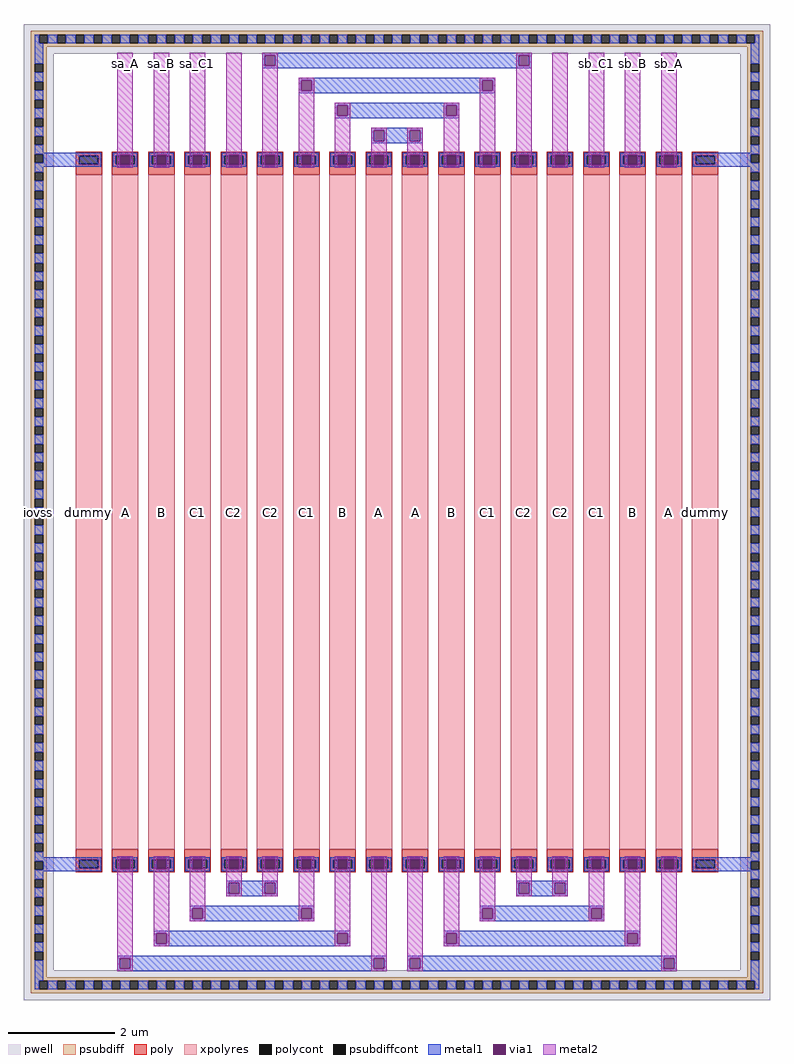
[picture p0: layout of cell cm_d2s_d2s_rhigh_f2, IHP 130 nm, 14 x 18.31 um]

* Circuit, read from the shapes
.subckt cm_d2s_d2s_rhigh_f2 sa_A sb_A sa_B sb_B sa_C1 sb_C1 sa_C2 sb_C2 iovss
XR1 iovss iovss xpolyres w=0.5u l=12.65u m=2
XR2 sa_A n1 xpolyres w=0.5u l=12.65u
XR3 sa_B n2 xpolyres w=0.5u l=12.65u
XR4 sa_C1 n3 xpolyres w=0.5u l=12.65u
XR5 sa_C2 n4 xpolyres w=0.5u l=12.65u
XR6 n5 n4 xpolyres w=0.5u l=12.65u
XR7 n6 n3 xpolyres w=0.5u l=12.65u
XR8 n7 n2 xpolyres w=0.5u l=12.65u
XR9 n8 n1 xpolyres w=0.5u l=12.65u
XR10 n8 n9 xpolyres w=0.5u l=12.65u
XR11 n7 n10 xpolyres w=0.5u l=12.65u
XR12 n6 n11 xpolyres w=0.5u l=12.65u
XR13 n5 n12 xpolyres w=0.5u l=12.65u
XR14 sb_C2 n12 xpolyres w=0.5u l=12.65u
XR15 sb_C1 n11 xpolyres w=0.5u l=12.65u
XR16 sb_B n10 xpolyres w=0.5u l=12.65u
XR17 sb_A n9 xpolyres w=0.5u l=12.65u
.ends

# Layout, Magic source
magic
tech ihp-sg13cmos5l
magscale 1 2
<< pwell >>
rect -194 2984 2606 3096
rect -194 -454 -82 2984
rect 2494 -454 2606 2984
rect -194 -566 2606 -454
<< psubdiff >>
rect -168 3056 2580 3070
rect -168 3024 -136 3056
rect -104 3024 -68 3056
rect -36 3024 0 3056
rect 32 3024 68 3056
rect 100 3024 136 3056
rect 168 3024 204 3056
rect 236 3024 272 3056
rect 304 3024 340 3056
rect 372 3024 408 3056
rect 440 3024 476 3056
rect 508 3024 544 3056
rect 576 3024 612 3056
rect 644 3024 680 3056
rect 712 3024 748 3056
rect 780 3024 816 3056
rect 848 3024 884 3056
rect 916 3024 952 3056
rect 984 3024 1020 3056
rect 1052 3024 1088 3056
rect 1120 3024 1156 3056
rect 1188 3024 1224 3056
rect 1256 3024 1292 3056
rect 1324 3024 1360 3056
rect 1392 3024 1428 3056
rect 1460 3024 1496 3056
rect 1528 3024 1564 3056
rect 1596 3024 1632 3056
rect 1664 3024 1700 3056
rect 1732 3024 1768 3056
rect 1800 3024 1836 3056
rect 1868 3024 1904 3056
rect 1936 3024 1972 3056
rect 2004 3024 2040 3056
rect 2072 3024 2108 3056
rect 2140 3024 2176 3056
rect 2208 3024 2244 3056
rect 2276 3024 2312 3056
rect 2344 3024 2380 3056
rect 2412 3024 2448 3056
rect 2480 3024 2516 3056
rect 2548 3024 2580 3056
rect -168 3010 2580 3024
rect -168 2947 -108 3010
rect -168 2915 -154 2947
rect -122 2915 -108 2947
rect -168 2879 -108 2915
rect -168 2847 -154 2879
rect -122 2847 -108 2879
rect -168 2811 -108 2847
rect -168 2779 -154 2811
rect -122 2779 -108 2811
rect -168 2743 -108 2779
rect -168 2711 -154 2743
rect -122 2711 -108 2743
rect -168 2675 -108 2711
rect -168 2643 -154 2675
rect -122 2643 -108 2675
rect -168 2607 -108 2643
rect -168 2575 -154 2607
rect -122 2575 -108 2607
rect -168 2539 -108 2575
rect -168 2507 -154 2539
rect -122 2507 -108 2539
rect -168 2471 -108 2507
rect -168 2439 -154 2471
rect -122 2439 -108 2471
rect -168 2403 -108 2439
rect -168 2371 -154 2403
rect -122 2371 -108 2403
rect -168 2335 -108 2371
rect -168 2303 -154 2335
rect -122 2303 -108 2335
rect -168 2267 -108 2303
rect -168 2235 -154 2267
rect -122 2235 -108 2267
rect -168 2199 -108 2235
rect -168 2167 -154 2199
rect -122 2167 -108 2199
rect -168 2131 -108 2167
rect -168 2099 -154 2131
rect -122 2099 -108 2131
rect -168 2063 -108 2099
rect -168 2031 -154 2063
rect -122 2031 -108 2063
rect -168 1995 -108 2031
rect -168 1963 -154 1995
rect -122 1963 -108 1995
rect -168 1927 -108 1963
rect -168 1895 -154 1927
rect -122 1895 -108 1927
rect -168 1859 -108 1895
rect -168 1827 -154 1859
rect -122 1827 -108 1859
rect -168 1791 -108 1827
rect -168 1759 -154 1791
rect -122 1759 -108 1791
rect -168 1723 -108 1759
rect -168 1691 -154 1723
rect -122 1691 -108 1723
rect -168 1655 -108 1691
rect -168 1623 -154 1655
rect -122 1623 -108 1655
rect -168 1587 -108 1623
rect -168 1555 -154 1587
rect -122 1555 -108 1587
rect -168 1519 -108 1555
rect -168 1487 -154 1519
rect -122 1487 -108 1519
rect -168 1451 -108 1487
rect -168 1419 -154 1451
rect -122 1419 -108 1451
rect -168 1383 -108 1419
rect -168 1351 -154 1383
rect -122 1351 -108 1383
rect -168 1315 -108 1351
rect -168 1283 -154 1315
rect -122 1283 -108 1315
rect -168 1247 -108 1283
rect -168 1215 -154 1247
rect -122 1215 -108 1247
rect -168 1179 -108 1215
rect -168 1147 -154 1179
rect -122 1147 -108 1179
rect -168 1111 -108 1147
rect -168 1079 -154 1111
rect -122 1079 -108 1111
rect -168 1043 -108 1079
rect -168 1011 -154 1043
rect -122 1011 -108 1043
rect -168 975 -108 1011
rect -168 943 -154 975
rect -122 943 -108 975
rect -168 907 -108 943
rect -168 875 -154 907
rect -122 875 -108 907
rect -168 839 -108 875
rect -168 807 -154 839
rect -122 807 -108 839
rect -168 771 -108 807
rect -168 739 -154 771
rect -122 739 -108 771
rect -168 703 -108 739
rect -168 671 -154 703
rect -122 671 -108 703
rect -168 635 -108 671
rect -168 603 -154 635
rect -122 603 -108 635
rect -168 567 -108 603
rect -168 535 -154 567
rect -122 535 -108 567
rect -168 499 -108 535
rect -168 467 -154 499
rect -122 467 -108 499
rect -168 431 -108 467
rect -168 399 -154 431
rect -122 399 -108 431
rect -168 363 -108 399
rect -168 331 -154 363
rect -122 331 -108 363
rect -168 295 -108 331
rect -168 263 -154 295
rect -122 263 -108 295
rect -168 227 -108 263
rect -168 195 -154 227
rect -122 195 -108 227
rect -168 159 -108 195
rect -168 127 -154 159
rect -122 127 -108 159
rect -168 91 -108 127
rect -168 59 -154 91
rect -122 59 -108 91
rect -168 23 -108 59
rect -168 -9 -154 23
rect -122 -9 -108 23
rect -168 -45 -108 -9
rect -168 -77 -154 -45
rect -122 -77 -108 -45
rect -168 -113 -108 -77
rect -168 -145 -154 -113
rect -122 -145 -108 -113
rect -168 -181 -108 -145
rect -168 -213 -154 -181
rect -122 -213 -108 -181
rect -168 -249 -108 -213
rect -168 -281 -154 -249
rect -122 -281 -108 -249
rect -168 -317 -108 -281
rect -168 -349 -154 -317
rect -122 -349 -108 -317
rect -168 -385 -108 -349
rect -168 -417 -154 -385
rect -122 -417 -108 -385
rect -168 -480 -108 -417
rect 2520 2947 2580 3010
rect 2520 2915 2534 2947
rect 2566 2915 2580 2947
rect 2520 2879 2580 2915
rect 2520 2847 2534 2879
rect 2566 2847 2580 2879
rect 2520 2811 2580 2847
rect 2520 2779 2534 2811
rect 2566 2779 2580 2811
rect 2520 2743 2580 2779
rect 2520 2711 2534 2743
rect 2566 2711 2580 2743
rect 2520 2675 2580 2711
rect 2520 2643 2534 2675
rect 2566 2643 2580 2675
rect 2520 2607 2580 2643
rect 2520 2575 2534 2607
rect 2566 2575 2580 2607
rect 2520 2539 2580 2575
rect 2520 2507 2534 2539
rect 2566 2507 2580 2539
rect 2520 2471 2580 2507
rect 2520 2439 2534 2471
rect 2566 2439 2580 2471
rect 2520 2403 2580 2439
rect 2520 2371 2534 2403
rect 2566 2371 2580 2403
rect 2520 2335 2580 2371
rect 2520 2303 2534 2335
rect 2566 2303 2580 2335
rect 2520 2267 2580 2303
rect 2520 2235 2534 2267
rect 2566 2235 2580 2267
rect 2520 2199 2580 2235
rect 2520 2167 2534 2199
rect 2566 2167 2580 2199
rect 2520 2131 2580 2167
rect 2520 2099 2534 2131
rect 2566 2099 2580 2131
rect 2520 2063 2580 2099
rect 2520 2031 2534 2063
rect 2566 2031 2580 2063
rect 2520 1995 2580 2031
rect 2520 1963 2534 1995
rect 2566 1963 2580 1995
rect 2520 1927 2580 1963
rect 2520 1895 2534 1927
rect 2566 1895 2580 1927
rect 2520 1859 2580 1895
rect 2520 1827 2534 1859
rect 2566 1827 2580 1859
rect 2520 1791 2580 1827
rect 2520 1759 2534 1791
rect 2566 1759 2580 1791
rect 2520 1723 2580 1759
rect 2520 1691 2534 1723
rect 2566 1691 2580 1723
rect 2520 1655 2580 1691
rect 2520 1623 2534 1655
rect 2566 1623 2580 1655
rect 2520 1587 2580 1623
rect 2520 1555 2534 1587
rect 2566 1555 2580 1587
rect 2520 1519 2580 1555
rect 2520 1487 2534 1519
rect 2566 1487 2580 1519
rect 2520 1451 2580 1487
rect 2520 1419 2534 1451
rect 2566 1419 2580 1451
rect 2520 1383 2580 1419
rect 2520 1351 2534 1383
rect 2566 1351 2580 1383
rect 2520 1315 2580 1351
rect 2520 1283 2534 1315
rect 2566 1283 2580 1315
rect 2520 1247 2580 1283
rect 2520 1215 2534 1247
rect 2566 1215 2580 1247
rect 2520 1179 2580 1215
rect 2520 1147 2534 1179
rect 2566 1147 2580 1179
rect 2520 1111 2580 1147
rect 2520 1079 2534 1111
rect 2566 1079 2580 1111
rect 2520 1043 2580 1079
rect 2520 1011 2534 1043
rect 2566 1011 2580 1043
rect 2520 975 2580 1011
rect 2520 943 2534 975
rect 2566 943 2580 975
rect 2520 907 2580 943
rect 2520 875 2534 907
rect 2566 875 2580 907
rect 2520 839 2580 875
rect 2520 807 2534 839
rect 2566 807 2580 839
rect 2520 771 2580 807
rect 2520 739 2534 771
rect 2566 739 2580 771
rect 2520 703 2580 739
rect 2520 671 2534 703
rect 2566 671 2580 703
rect 2520 635 2580 671
rect 2520 603 2534 635
rect 2566 603 2580 635
rect 2520 567 2580 603
rect 2520 535 2534 567
rect 2566 535 2580 567
rect 2520 499 2580 535
rect 2520 467 2534 499
rect 2566 467 2580 499
rect 2520 431 2580 467
rect 2520 399 2534 431
rect 2566 399 2580 431
rect 2520 363 2580 399
rect 2520 331 2534 363
rect 2566 331 2580 363
rect 2520 295 2580 331
rect 2520 263 2534 295
rect 2566 263 2580 295
rect 2520 227 2580 263
rect 2520 195 2534 227
rect 2566 195 2580 227
rect 2520 159 2580 195
rect 2520 127 2534 159
rect 2566 127 2580 159
rect 2520 91 2580 127
rect 2520 59 2534 91
rect 2566 59 2580 91
rect 2520 23 2580 59
rect 2520 -9 2534 23
rect 2566 -9 2580 23
rect 2520 -45 2580 -9
rect 2520 -77 2534 -45
rect 2566 -77 2580 -45
rect 2520 -113 2580 -77
rect 2520 -145 2534 -113
rect 2566 -145 2580 -113
rect 2520 -181 2580 -145
rect 2520 -213 2534 -181
rect 2566 -213 2580 -181
rect 2520 -249 2580 -213
rect 2520 -281 2534 -249
rect 2566 -281 2580 -249
rect 2520 -317 2580 -281
rect 2520 -349 2534 -317
rect 2566 -349 2580 -317
rect 2520 -385 2580 -349
rect 2520 -417 2534 -385
rect 2566 -417 2580 -385
rect 2520 -480 2580 -417
rect -168 -494 2580 -480
rect -168 -526 -136 -494
rect -104 -526 -68 -494
rect -36 -526 0 -494
rect 32 -526 68 -494
rect 100 -526 136 -494
rect 168 -526 204 -494
rect 236 -526 272 -494
rect 304 -526 340 -494
rect 372 -526 408 -494
rect 440 -526 476 -494
rect 508 -526 544 -494
rect 576 -526 612 -494
rect 644 -526 680 -494
rect 712 -526 748 -494
rect 780 -526 816 -494
rect 848 -526 884 -494
rect 916 -526 952 -494
rect 984 -526 1020 -494
rect 1052 -526 1088 -494
rect 1120 -526 1156 -494
rect 1188 -526 1224 -494
rect 1256 -526 1292 -494
rect 1324 -526 1360 -494
rect 1392 -526 1428 -494
rect 1460 -526 1496 -494
rect 1528 -526 1564 -494
rect 1596 -526 1632 -494
rect 1664 -526 1700 -494
rect 1732 -526 1768 -494
rect 1800 -526 1836 -494
rect 1868 -526 1904 -494
rect 1936 -526 1972 -494
rect 2004 -526 2040 -494
rect 2072 -526 2108 -494
rect 2140 -526 2176 -494
rect 2208 -526 2244 -494
rect 2276 -526 2312 -494
rect 2344 -526 2380 -494
rect 2412 -526 2448 -494
rect 2480 -526 2516 -494
rect 2548 -526 2580 -494
rect -168 -540 2580 -526
<< psubdiffcont >>
rect -136 3024 -104 3056
rect -68 3024 -36 3056
rect 0 3024 32 3056
rect 68 3024 100 3056
rect 136 3024 168 3056
rect 204 3024 236 3056
rect 272 3024 304 3056
rect 340 3024 372 3056
rect 408 3024 440 3056
rect 476 3024 508 3056
rect 544 3024 576 3056
rect 612 3024 644 3056
rect 680 3024 712 3056
rect 748 3024 780 3056
rect 816 3024 848 3056
rect 884 3024 916 3056
rect 952 3024 984 3056
rect 1020 3024 1052 3056
rect 1088 3024 1120 3056
rect 1156 3024 1188 3056
rect 1224 3024 1256 3056
rect 1292 3024 1324 3056
rect 1360 3024 1392 3056
rect 1428 3024 1460 3056
rect 1496 3024 1528 3056
rect 1564 3024 1596 3056
rect 1632 3024 1664 3056
rect 1700 3024 1732 3056
rect 1768 3024 1800 3056
rect 1836 3024 1868 3056
rect 1904 3024 1936 3056
rect 1972 3024 2004 3056
rect 2040 3024 2072 3056
rect 2108 3024 2140 3056
rect 2176 3024 2208 3056
rect 2244 3024 2276 3056
rect 2312 3024 2344 3056
rect 2380 3024 2412 3056
rect 2448 3024 2480 3056
rect 2516 3024 2548 3056
rect -154 2915 -122 2947
rect -154 2847 -122 2879
rect -154 2779 -122 2811
rect -154 2711 -122 2743
rect -154 2643 -122 2675
rect -154 2575 -122 2607
rect -154 2507 -122 2539
rect -154 2439 -122 2471
rect -154 2371 -122 2403
rect -154 2303 -122 2335
rect -154 2235 -122 2267
rect -154 2167 -122 2199
rect -154 2099 -122 2131
rect -154 2031 -122 2063
rect -154 1963 -122 1995
rect -154 1895 -122 1927
rect -154 1827 -122 1859
rect -154 1759 -122 1791
rect -154 1691 -122 1723
rect -154 1623 -122 1655
rect -154 1555 -122 1587
rect -154 1487 -122 1519
rect -154 1419 -122 1451
rect -154 1351 -122 1383
rect -154 1283 -122 1315
rect -154 1215 -122 1247
rect -154 1147 -122 1179
rect -154 1079 -122 1111
rect -154 1011 -122 1043
rect -154 943 -122 975
rect -154 875 -122 907
rect -154 807 -122 839
rect -154 739 -122 771
rect -154 671 -122 703
rect -154 603 -122 635
rect -154 535 -122 567
rect -154 467 -122 499
rect -154 399 -122 431
rect -154 331 -122 363
rect -154 263 -122 295
rect -154 195 -122 227
rect -154 127 -122 159
rect -154 59 -122 91
rect -154 -9 -122 23
rect -154 -77 -122 -45
rect -154 -145 -122 -113
rect -154 -213 -122 -181
rect -154 -281 -122 -249
rect -154 -349 -122 -317
rect -154 -417 -122 -385
rect 2534 2915 2566 2947
rect 2534 2847 2566 2879
rect 2534 2779 2566 2811
rect 2534 2711 2566 2743
rect 2534 2643 2566 2675
rect 2534 2575 2566 2607
rect 2534 2507 2566 2539
rect 2534 2439 2566 2471
rect 2534 2371 2566 2403
rect 2534 2303 2566 2335
rect 2534 2235 2566 2267
rect 2534 2167 2566 2199
rect 2534 2099 2566 2131
rect 2534 2031 2566 2063
rect 2534 1963 2566 1995
rect 2534 1895 2566 1927
rect 2534 1827 2566 1859
rect 2534 1759 2566 1791
rect 2534 1691 2566 1723
rect 2534 1623 2566 1655
rect 2534 1555 2566 1587
rect 2534 1487 2566 1519
rect 2534 1419 2566 1451
rect 2534 1351 2566 1383
rect 2534 1283 2566 1315
rect 2534 1215 2566 1247
rect 2534 1147 2566 1179
rect 2534 1079 2566 1111
rect 2534 1011 2566 1043
rect 2534 943 2566 975
rect 2534 875 2566 907
rect 2534 807 2566 839
rect 2534 739 2566 771
rect 2534 671 2566 703
rect 2534 603 2566 635
rect 2534 535 2566 567
rect 2534 467 2566 499
rect 2534 399 2566 431
rect 2534 331 2566 363
rect 2534 263 2566 295
rect 2534 195 2566 227
rect 2534 127 2566 159
rect 2534 59 2566 91
rect 2534 -9 2566 23
rect 2534 -77 2566 -45
rect 2534 -145 2566 -113
rect 2534 -213 2566 -181
rect 2534 -281 2566 -249
rect 2534 -349 2566 -317
rect 2534 -417 2566 -385
rect -136 -526 -104 -494
rect -68 -526 -36 -494
rect 0 -526 32 -494
rect 68 -526 100 -494
rect 136 -526 168 -494
rect 204 -526 236 -494
rect 272 -526 304 -494
rect 340 -526 372 -494
rect 408 -526 440 -494
rect 476 -526 508 -494
rect 544 -526 576 -494
rect 612 -526 644 -494
rect 680 -526 712 -494
rect 748 -526 780 -494
rect 816 -526 848 -494
rect 884 -526 916 -494
rect 952 -526 984 -494
rect 1020 -526 1052 -494
rect 1088 -526 1120 -494
rect 1156 -526 1188 -494
rect 1224 -526 1256 -494
rect 1292 -526 1324 -494
rect 1360 -526 1392 -494
rect 1428 -526 1460 -494
rect 1496 -526 1528 -494
rect 1564 -526 1596 -494
rect 1632 -526 1664 -494
rect 1700 -526 1732 -494
rect 1768 -526 1800 -494
rect 1836 -526 1868 -494
rect 1904 -526 1936 -494
rect 1972 -526 2004 -494
rect 2040 -526 2072 -494
rect 2108 -526 2140 -494
rect 2176 -526 2208 -494
rect 2244 -526 2276 -494
rect 2312 -526 2344 -494
rect 2380 -526 2412 -494
rect 2448 -526 2480 -494
rect 2516 -526 2548 -494
<< metal1 >>
rect -154 3024 -136 3056
rect -104 3024 -68 3056
rect -36 3024 0 3056
rect 32 3024 68 3056
rect 100 3024 136 3056
rect 168 3024 204 3056
rect 236 3024 272 3056
rect 304 3024 340 3056
rect 372 3024 408 3056
rect 440 3024 476 3056
rect 508 3024 544 3056
rect 576 3024 612 3056
rect 644 3024 680 3056
rect 712 3024 748 3056
rect 780 3024 816 3056
rect 848 3024 884 3056
rect 916 3024 952 3056
rect 984 3024 1020 3056
rect 1052 3024 1088 3056
rect 1120 3024 1156 3056
rect 1188 3024 1224 3056
rect 1256 3024 1292 3056
rect 1324 3024 1360 3056
rect 1392 3024 1428 3056
rect 1460 3024 1496 3056
rect 1528 3024 1564 3056
rect 1596 3024 1632 3056
rect 1664 3024 1700 3056
rect 1732 3024 1768 3056
rect 1800 3024 1836 3056
rect 1868 3024 1904 3056
rect 1936 3024 1972 3056
rect 2004 3024 2040 3056
rect 2072 3024 2108 3056
rect 2140 3024 2176 3056
rect 2208 3024 2244 3056
rect 2276 3024 2312 3056
rect 2344 3024 2380 3056
rect 2412 3024 2448 3056
rect 2480 3024 2516 3056
rect 2548 3024 2566 3056
rect -154 2947 -122 3024
rect 701 2979 1711 2988
rect 701 2939 710 2979
rect 750 2939 1662 2979
rect 1702 2939 1711 2979
rect 701 2930 1711 2939
rect 2534 2947 2566 3024
rect -154 2879 -122 2915
rect -154 2811 -122 2847
rect 837 2885 1575 2894
rect 837 2845 846 2885
rect 886 2845 1526 2885
rect 1566 2845 1575 2885
rect 837 2836 1575 2845
rect 2534 2879 2566 2915
rect 2534 2811 2566 2847
rect -154 2743 -122 2779
rect 973 2791 1439 2800
rect 973 2751 982 2791
rect 1022 2751 1390 2791
rect 1430 2751 1439 2791
rect 973 2742 1439 2751
rect 2534 2743 2566 2779
rect -154 2675 -122 2711
rect 1109 2697 1303 2706
rect 1109 2657 1118 2697
rect 1158 2657 1254 2697
rect 1294 2657 1303 2697
rect 1109 2648 1303 2657
rect 2534 2675 2566 2711
rect -154 2612 -122 2643
rect 2534 2612 2566 2643
rect -154 2607 96 2612
rect -122 2575 96 2607
rect 2316 2607 2566 2612
rect -154 2560 96 2575
rect 2316 2575 2534 2607
rect 2316 2560 2566 2575
rect -154 2539 -122 2560
rect -154 2471 -122 2507
rect -154 2403 -122 2439
rect -154 2335 -122 2371
rect -154 2267 -122 2303
rect -154 2199 -122 2235
rect -154 2131 -122 2167
rect -154 2063 -122 2099
rect -154 1995 -122 2031
rect -154 1927 -122 1963
rect -154 1859 -122 1895
rect -154 1791 -122 1827
rect -154 1723 -122 1759
rect -154 1655 -122 1691
rect -154 1587 -122 1623
rect -154 1519 -122 1555
rect -154 1451 -122 1487
rect -154 1383 -122 1419
rect -154 1315 -122 1351
rect -154 1247 -122 1283
rect -154 1179 -122 1215
rect -154 1111 -122 1147
rect -154 1043 -122 1079
rect -154 975 -122 1011
rect -154 907 -122 943
rect -154 839 -122 875
rect -154 771 -122 807
rect -154 703 -122 739
rect -154 635 -122 671
rect -154 567 -122 603
rect -154 499 -122 535
rect -154 431 -122 467
rect -154 363 -122 399
rect -154 295 -122 331
rect -154 227 -122 263
rect -154 159 -122 195
rect -154 91 -122 127
rect -154 23 -122 59
rect -154 -30 -122 -9
rect 2534 2539 2566 2560
rect 2534 2471 2566 2507
rect 2534 2403 2566 2439
rect 2534 2335 2566 2371
rect 2534 2267 2566 2303
rect 2534 2199 2566 2235
rect 2534 2131 2566 2167
rect 2534 2063 2566 2099
rect 2534 1995 2566 2031
rect 2534 1927 2566 1963
rect 2534 1859 2566 1895
rect 2534 1791 2566 1827
rect 2534 1723 2566 1759
rect 2534 1655 2566 1691
rect 2534 1587 2566 1623
rect 2534 1519 2566 1555
rect 2534 1451 2566 1487
rect 2534 1383 2566 1419
rect 2534 1315 2566 1351
rect 2534 1247 2566 1283
rect 2534 1179 2566 1215
rect 2534 1111 2566 1147
rect 2534 1043 2566 1079
rect 2534 975 2566 1011
rect 2534 907 2566 943
rect 2534 839 2566 875
rect 2534 771 2566 807
rect 2534 703 2566 739
rect 2534 635 2566 671
rect 2534 567 2566 603
rect 2534 499 2566 535
rect 2534 431 2566 467
rect 2534 363 2566 399
rect 2534 295 2566 331
rect 2534 227 2566 263
rect 2534 159 2566 195
rect 2534 91 2566 127
rect 2534 23 2566 59
rect 2534 -30 2566 -9
rect -154 -45 96 -30
rect -122 -77 96 -45
rect 2316 -45 2566 -30
rect -154 -82 96 -77
rect 2316 -77 2534 -45
rect 2316 -82 2566 -77
rect -154 -113 -122 -82
rect 2534 -113 2566 -82
rect -154 -181 -122 -145
rect 565 -127 759 -118
rect 565 -167 574 -127
rect 614 -167 710 -127
rect 750 -167 759 -127
rect 565 -176 759 -167
rect 1653 -127 1847 -118
rect 1653 -167 1662 -127
rect 1702 -167 1798 -127
rect 1838 -167 1847 -127
rect 1653 -176 1847 -167
rect 2534 -181 2566 -145
rect -154 -249 -122 -213
rect 429 -221 895 -212
rect 429 -261 438 -221
rect 478 -261 846 -221
rect 886 -261 895 -221
rect 429 -270 895 -261
rect 1517 -221 1983 -212
rect 1517 -261 1526 -221
rect 1566 -261 1934 -221
rect 1974 -261 1983 -221
rect 1517 -270 1983 -261
rect 2534 -249 2566 -213
rect -154 -317 -122 -281
rect -154 -385 -122 -349
rect 293 -315 1031 -306
rect 293 -355 302 -315
rect 342 -355 982 -315
rect 1022 -355 1031 -315
rect 293 -364 1031 -355
rect 1381 -315 2119 -306
rect 1381 -355 1390 -315
rect 1430 -355 2070 -315
rect 2110 -355 2119 -315
rect 1381 -364 2119 -355
rect 2534 -317 2566 -281
rect 2534 -385 2566 -349
rect -154 -494 -122 -417
rect 157 -409 1167 -400
rect 157 -449 166 -409
rect 206 -449 1118 -409
rect 1158 -449 1167 -409
rect 157 -458 1167 -449
rect 1245 -409 2255 -400
rect 1245 -449 1254 -409
rect 1294 -449 2206 -409
rect 2246 -449 2255 -409
rect 1245 -458 2255 -449
rect 2534 -494 2566 -417
rect -154 -526 -136 -494
rect -104 -526 -68 -494
rect -36 -526 0 -494
rect 32 -526 68 -494
rect 100 -526 136 -494
rect 168 -526 204 -494
rect 236 -526 272 -494
rect 304 -526 340 -494
rect 372 -526 408 -494
rect 440 -526 476 -494
rect 508 -526 544 -494
rect 576 -526 612 -494
rect 644 -526 680 -494
rect 712 -526 748 -494
rect 780 -526 816 -494
rect 848 -526 884 -494
rect 916 -526 952 -494
rect 984 -526 1020 -494
rect 1052 -526 1088 -494
rect 1120 -526 1156 -494
rect 1188 -526 1224 -494
rect 1256 -526 1292 -494
rect 1324 -526 1360 -494
rect 1392 -526 1428 -494
rect 1460 -526 1496 -494
rect 1528 -526 1564 -494
rect 1596 -526 1632 -494
rect 1664 -526 1700 -494
rect 1732 -526 1768 -494
rect 1800 -526 1836 -494
rect 1868 -526 1904 -494
rect 1936 -526 1972 -494
rect 2004 -526 2040 -494
rect 2072 -526 2108 -494
rect 2140 -526 2176 -494
rect 2208 -526 2244 -494
rect 2276 -526 2312 -494
rect 2344 -526 2380 -494
rect 2412 -526 2448 -494
rect 2480 -526 2516 -494
rect 2548 -526 2566 -494
<< via1 >>
rect 710 2939 750 2979
rect 1662 2939 1702 2979
rect 846 2845 886 2885
rect 1526 2845 1566 2885
rect 982 2751 1022 2791
rect 1390 2751 1430 2791
rect 1118 2657 1158 2697
rect 1254 2657 1294 2697
rect 166 2566 206 2606
rect 302 2566 342 2606
rect 438 2566 478 2606
rect 574 2566 614 2606
rect 710 2566 750 2606
rect 846 2566 886 2606
rect 982 2566 1022 2606
rect 1118 2566 1158 2606
rect 1254 2566 1294 2606
rect 1390 2566 1430 2606
rect 1526 2566 1566 2606
rect 1662 2566 1702 2606
rect 1798 2566 1838 2606
rect 1934 2566 1974 2606
rect 2070 2566 2110 2606
rect 2206 2566 2246 2606
rect 166 -76 206 -36
rect 302 -76 342 -36
rect 438 -76 478 -36
rect 574 -76 614 -36
rect 710 -76 750 -36
rect 846 -76 886 -36
rect 982 -76 1022 -36
rect 1118 -76 1158 -36
rect 1254 -76 1294 -36
rect 1390 -76 1430 -36
rect 1526 -76 1566 -36
rect 1662 -76 1702 -36
rect 1798 -76 1838 -36
rect 1934 -76 1974 -36
rect 2070 -76 2110 -36
rect 2206 -76 2246 -36
rect 574 -167 614 -127
rect 710 -167 750 -127
rect 1662 -167 1702 -127
rect 1798 -167 1838 -127
rect 438 -261 478 -221
rect 846 -261 886 -221
rect 1526 -261 1566 -221
rect 1934 -261 1974 -221
rect 302 -355 342 -315
rect 982 -355 1022 -315
rect 1390 -355 1430 -315
rect 2070 -355 2110 -315
rect 166 -449 206 -409
rect 1118 -449 1158 -409
rect 1254 -449 1294 -409
rect 2206 -449 2246 -409
<< metal2 >>
rect 157 2606 215 2988
rect 157 2566 166 2606
rect 206 2566 215 2606
rect 157 2557 215 2566
rect 293 2606 351 2988
rect 293 2566 302 2606
rect 342 2566 351 2606
rect 293 2557 351 2566
rect 429 2606 487 2988
rect 429 2566 438 2606
rect 478 2566 487 2606
rect 429 2557 487 2566
rect 565 2606 623 2988
rect 565 2566 574 2606
rect 614 2566 623 2606
rect 565 2557 623 2566
rect 701 2979 759 2988
rect 701 2939 710 2979
rect 750 2939 759 2979
rect 701 2606 759 2939
rect 1653 2979 1711 2988
rect 1653 2939 1662 2979
rect 1702 2939 1711 2979
rect 701 2566 710 2606
rect 750 2566 759 2606
rect 701 2557 759 2566
rect 837 2885 895 2894
rect 837 2845 846 2885
rect 886 2845 895 2885
rect 837 2606 895 2845
rect 1517 2885 1575 2894
rect 1517 2845 1526 2885
rect 1566 2845 1575 2885
rect 837 2566 846 2606
rect 886 2566 895 2606
rect 837 2557 895 2566
rect 973 2791 1031 2800
rect 973 2751 982 2791
rect 1022 2751 1031 2791
rect 973 2606 1031 2751
rect 1381 2791 1439 2800
rect 1381 2751 1390 2791
rect 1430 2751 1439 2791
rect 973 2566 982 2606
rect 1022 2566 1031 2606
rect 973 2557 1031 2566
rect 1109 2697 1167 2706
rect 1109 2657 1118 2697
rect 1158 2657 1167 2697
rect 1109 2606 1167 2657
rect 1109 2566 1118 2606
rect 1158 2566 1167 2606
rect 1109 2557 1167 2566
rect 1245 2697 1303 2706
rect 1245 2657 1254 2697
rect 1294 2657 1303 2697
rect 1245 2606 1303 2657
rect 1245 2566 1254 2606
rect 1294 2566 1303 2606
rect 1245 2557 1303 2566
rect 1381 2606 1439 2751
rect 1381 2566 1390 2606
rect 1430 2566 1439 2606
rect 1381 2557 1439 2566
rect 1517 2606 1575 2845
rect 1517 2566 1526 2606
rect 1566 2566 1575 2606
rect 1517 2557 1575 2566
rect 1653 2606 1711 2939
rect 1653 2566 1662 2606
rect 1702 2566 1711 2606
rect 1653 2557 1711 2566
rect 1789 2606 1847 2988
rect 1789 2566 1798 2606
rect 1838 2566 1847 2606
rect 1789 2557 1847 2566
rect 1925 2606 1983 2988
rect 1925 2566 1934 2606
rect 1974 2566 1983 2606
rect 1925 2557 1983 2566
rect 2061 2606 2119 2988
rect 2061 2566 2070 2606
rect 2110 2566 2119 2606
rect 2061 2557 2119 2566
rect 2197 2606 2255 2988
rect 2197 2566 2206 2606
rect 2246 2566 2255 2606
rect 2197 2557 2255 2566
rect 157 -36 215 -27
rect 157 -76 166 -36
rect 206 -76 215 -36
rect 157 -409 215 -76
rect 293 -36 351 -27
rect 293 -76 302 -36
rect 342 -76 351 -36
rect 293 -315 351 -76
rect 429 -36 487 -27
rect 429 -76 438 -36
rect 478 -76 487 -36
rect 429 -221 487 -76
rect 565 -36 623 -27
rect 565 -76 574 -36
rect 614 -76 623 -36
rect 565 -127 623 -76
rect 565 -167 574 -127
rect 614 -167 623 -127
rect 565 -176 623 -167
rect 701 -36 759 -27
rect 701 -76 710 -36
rect 750 -76 759 -36
rect 701 -127 759 -76
rect 701 -167 710 -127
rect 750 -167 759 -127
rect 701 -176 759 -167
rect 837 -36 895 -27
rect 837 -76 846 -36
rect 886 -76 895 -36
rect 429 -261 438 -221
rect 478 -261 487 -221
rect 429 -270 487 -261
rect 837 -221 895 -76
rect 837 -261 846 -221
rect 886 -261 895 -221
rect 837 -270 895 -261
rect 973 -36 1031 -27
rect 973 -76 982 -36
rect 1022 -76 1031 -36
rect 293 -355 302 -315
rect 342 -355 351 -315
rect 293 -364 351 -355
rect 973 -315 1031 -76
rect 973 -355 982 -315
rect 1022 -355 1031 -315
rect 973 -364 1031 -355
rect 1109 -36 1167 -27
rect 1109 -76 1118 -36
rect 1158 -76 1167 -36
rect 157 -449 166 -409
rect 206 -449 215 -409
rect 157 -458 215 -449
rect 1109 -409 1167 -76
rect 1109 -449 1118 -409
rect 1158 -449 1167 -409
rect 1109 -458 1167 -449
rect 1245 -36 1303 -27
rect 1245 -76 1254 -36
rect 1294 -76 1303 -36
rect 1245 -409 1303 -76
rect 1381 -36 1439 -27
rect 1381 -76 1390 -36
rect 1430 -76 1439 -36
rect 1381 -315 1439 -76
rect 1517 -36 1575 -27
rect 1517 -76 1526 -36
rect 1566 -76 1575 -36
rect 1517 -221 1575 -76
rect 1653 -36 1711 -27
rect 1653 -76 1662 -36
rect 1702 -76 1711 -36
rect 1653 -127 1711 -76
rect 1653 -167 1662 -127
rect 1702 -167 1711 -127
rect 1653 -176 1711 -167
rect 1789 -36 1847 -27
rect 1789 -76 1798 -36
rect 1838 -76 1847 -36
rect 1789 -127 1847 -76
rect 1789 -167 1798 -127
rect 1838 -167 1847 -127
rect 1789 -176 1847 -167
rect 1925 -36 1983 -27
rect 1925 -76 1934 -36
rect 1974 -76 1983 -36
rect 1517 -261 1526 -221
rect 1566 -261 1575 -221
rect 1517 -270 1575 -261
rect 1925 -221 1983 -76
rect 1925 -261 1934 -221
rect 1974 -261 1983 -221
rect 1925 -270 1983 -261
rect 2061 -36 2119 -27
rect 2061 -76 2070 -36
rect 2110 -76 2119 -36
rect 1381 -355 1390 -315
rect 1430 -355 1439 -315
rect 1381 -364 1439 -355
rect 2061 -315 2119 -76
rect 2061 -355 2070 -315
rect 2110 -355 2119 -315
rect 2061 -364 2119 -355
rect 2197 -36 2255 -27
rect 2197 -76 2206 -36
rect 2246 -76 2255 -36
rect 1245 -449 1254 -409
rect 1294 -449 1303 -409
rect 1245 -458 1303 -449
rect 2197 -409 2255 -76
rect 2197 -449 2206 -409
rect 2246 -449 2255 -409
rect 2197 -458 2255 -449
use cm_d2s_rhigh  cm_d2s_rhigh_0
transform 1 0 136 0 1 0
box 0 -86 100 2616
use cm_d2s_rhigh  cm_d2s_rhigh_1
transform 1 0 272 0 1 0
box 0 -86 100 2616
use cm_d2s_rhigh  cm_d2s_rhigh_2
transform 1 0 408 0 1 0
box 0 -86 100 2616
use cm_d2s_rhigh  cm_d2s_rhigh_3
transform 1 0 544 0 1 0
box 0 -86 100 2616
use cm_d2s_rhigh  cm_d2s_rhigh_4
transform 1 0 680 0 1 0
box 0 -86 100 2616
use cm_d2s_rhigh  cm_d2s_rhigh_5
transform 1 0 816 0 1 0
box 0 -86 100 2616
use cm_d2s_rhigh  cm_d2s_rhigh_6
transform 1 0 952 0 1 0
box 0 -86 100 2616
use cm_d2s_rhigh  cm_d2s_rhigh_7
transform 1 0 1088 0 1 0
box 0 -86 100 2616
use cm_d2s_rhigh  cm_d2s_rhigh_8
transform 1 0 0 0 1 0
box 0 -86 100 2616
use cm_d2s_rhigh  cm_d2s_rhigh_9
transform 1 0 1360 0 1 0
box 0 -86 100 2616
use cm_d2s_rhigh  cm_d2s_rhigh_10
transform 1 0 1496 0 1 0
box 0 -86 100 2616
use cm_d2s_rhigh  cm_d2s_rhigh_11
transform 1 0 1632 0 1 0
box 0 -86 100 2616
use cm_d2s_rhigh  cm_d2s_rhigh_12
transform 1 0 1768 0 1 0
box 0 -86 100 2616
use cm_d2s_rhigh  cm_d2s_rhigh_13
transform 1 0 1904 0 1 0
box 0 -86 100 2616
use cm_d2s_rhigh  cm_d2s_rhigh_14
transform 1 0 2040 0 1 0
box 0 -86 100 2616
use cm_d2s_rhigh  cm_d2s_rhigh_15
transform 1 0 2176 0 1 0
box 0 -86 100 2616
use cm_d2s_rhigh  cm_d2s_rhigh_16
transform 1 0 2312 0 1 0
box 0 -86 100 2616
use cm_d2s_rhigh  cm_d2s_rhigh_17
transform 1 0 1224 0 1 0
box 0 -86 100 2616
<< labels >>
rlabel comment s 50 1265 50 1265 4 dummy
rlabel comment s 186 1265 186 1265 4 A
rlabel comment s 322 1265 322 1265 4 B
rlabel comment s 458 1265 458 1265 4 C1
rlabel comment s 594 1265 594 1265 4 C2
rlabel comment s 730 1265 730 1265 4 C2
rlabel comment s 866 1265 866 1265 4 C1
rlabel comment s 1002 1265 1002 1265 4 B
rlabel comment s 1138 1265 1138 1265 4 A
rlabel comment s 1274 1265 1274 1265 4 A
rlabel comment s 1410 1265 1410 1265 4 B
rlabel comment s 1546 1265 1546 1265 4 C1
rlabel comment s 1682 1265 1682 1265 4 C2
rlabel comment s 1818 1265 1818 1265 4 C2
rlabel comment s 1954 1265 1954 1265 4 C1
rlabel comment s 2090 1265 2090 1265 4 B
rlabel comment s 2226 1265 2226 1265 4 A
rlabel comment s 2362 1265 2362 1265 4 dummy
rlabel metal2 s 157 2908 215 2988 4 sa_A
port 2 nsew
rlabel metal2 s 2197 2908 2255 2988 4 sb_A
port 3 nsew
rlabel metal2 s 293 2908 351 2988 4 sa_B
port 4 nsew
rlabel metal2 s 2061 2908 2119 2988 4 sb_B
port 5 nsew
rlabel metal2 s 429 2908 487 2988 4 sa_C1
port 6 nsew
rlabel metal2 s 1925 2908 1983 2988 4 sb_C1
port 7 nsew
rlabel metal2 s 565 2908 623 2988 4 sa_C2
port 8 nsew
rlabel metal2 s 1789 2908 1847 2988 4 sb_C2
port 9 nsew
rlabel metal1 s -154 1165 -122 1365 4 iovss
port 10 nsew
<< properties >>
string GDS_END 243114
string GDS_FILE custom_io/gds/sg13cmos5l_IOPadDiff2Single.uniq.gds
string GDS_START 221496
<< end >>

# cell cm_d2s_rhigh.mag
magic
tech ihp-sg13cmos5l
magscale 1 2
<< poly >>
rect 0 2602 100 2616
rect 0 2570 14 2602
rect 86 2570 100 2602
rect 0 2530 100 2570
rect 0 -40 100 0
rect 0 -72 14 -40
rect 86 -72 100 -40
rect 0 -86 100 -72
<< polycont >>
rect 14 2570 86 2602
rect 14 -72 86 -40
<< xpolyres >>
rect 0 0 100 2530
<< metal1 >>
rect 4 2602 96 2612
rect 4 2570 14 2602
rect 86 2570 96 2602
rect 4 2560 96 2570
rect 4 -40 96 -30
rect 4 -72 14 -40
rect 86 -72 96 -40
rect 4 -82 96 -72
<< labels >>
flabel comment s 50 1265 50 1265 0 FreeSans 200 90 0 0 rhigh r=37720.000
<< properties >>
string GDS_END 45730
string GDS_FILE custom_io/gds/sg13cmos5l_IOPadDiff2Single.uniq.gds
string GDS_START 44162
string MASKHINTS_CONTBAR 14 2570 86 2602 14 -72 86 -40
<< end >>
